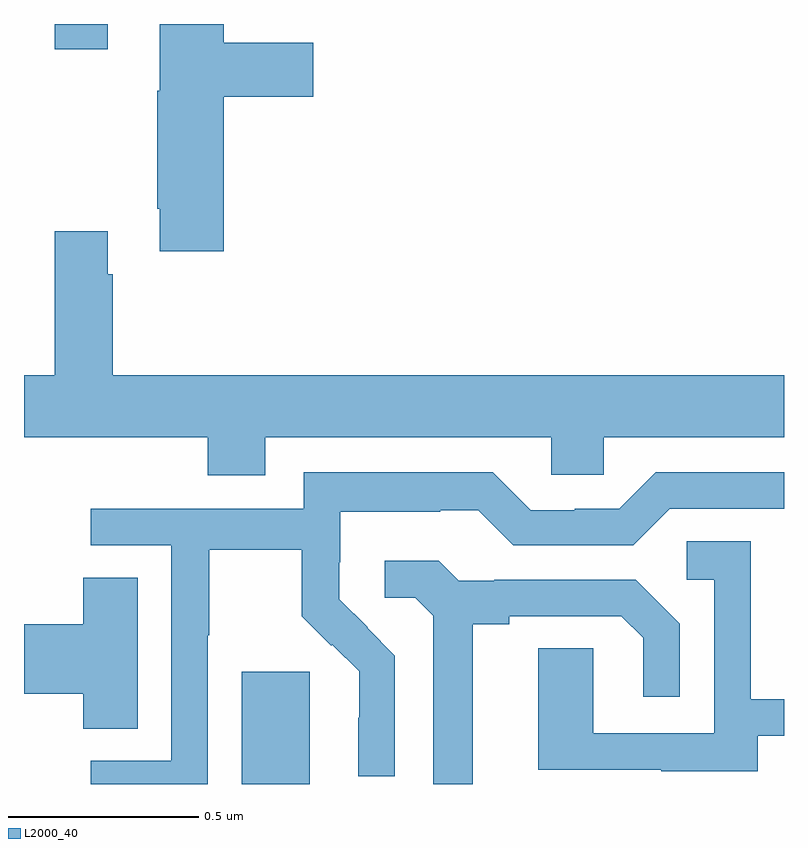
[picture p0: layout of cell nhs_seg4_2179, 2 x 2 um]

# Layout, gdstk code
import gdstk
lib = gdstk.Library(unit=1e-6, precision=1e-09)
def R(c, l, rs):  # rectangles x0, y0, x1, y1
    for r in rs: c.add(gdstk.rectangle(r[:2], r[2:], *l))
def P(c, l, *ps):  # polygons
    for p in ps: c.add(gdstk.Polygon(p, *l))
L2000_40 = (2000, 40)

nhs_seg4_2179 = lib.new_cell('nhs_seg4_2179')
R(nhs_seg4_2179, L2000_40, [(137.573,803.9,137.752,804.195), (137.081,805.833,137.221,805.9)])
P(nhs_seg4_2179, L2000_40, [(137.525,805.709),(137.761,805.709),(137.761,805.851),(137.525,805.851),(137.525,805.9),(137.357,805.9),(137.357,805.725),(137.35,805.725),(137.35,805.414),(137.357,805.414),(137.357,805.302),(137.525,805.302)],
  [(137.635,804.812),(138.387,804.812),(138.387,804.714),(138.525,804.714),(138.525,804.812),(139,804.812),(139,804.976),(137.234,804.976),(137.234,805.241),(137.221,805.241),(137.221,805.354),(137.081,805.354),(137.081,804.976),(137,804.976),(137,804.812),(137.483,804.812),(137.483,804.713),(137.635,804.713)],
  [(137.484,804.292),(137.487,804.292),(137.487,804.516),(137.731,804.516),(137.731,804.341),(137.808,804.264),(137.811,804.267),(137.882,804.197),(137.882,804.074),(137.88,804.074),(137.88,803.92),(137.976,803.92),(137.976,804.238),(137.903,804.311),(137.904,804.312),(137.83,804.386),(137.83,804.483),(137.832,804.483),(137.832,804.617),(138.095,804.617),(138.095,804.621),(138.195,804.621),(138.288,804.528),(138.603,804.528),(138.699,804.624),(139,804.624),(139,804.72),(138.663,804.72),(138.567,804.624),(138.449,804.624),(138.449,804.621),(138.333,804.621),(138.233,804.721),(137.736,804.721),(137.736,804.624),(137.175,804.624),(137.175,804.528),(137.388,804.528),(137.388,803.961),(137.175,803.961),(137.175,803.9),(137.484,803.9)],
  [(138.931,804.027),(139,804.027),(139,804.123),(138.912,804.123),(138.912,804.539),(138.744,804.539),(138.744,804.438),(138.816,804.438),(138.816,804.033),(138.498,804.033),(138.498,804.257),(138.353,804.257),(138.353,803.937),(138.677,803.937),(138.677,803.933),(138.931,803.933)],
  [(138.181,804.32),(138.277,804.32),(138.277,804.342),(138.572,804.342),(138.629,804.285),(138.629,804.129),(138.726,804.129),(138.726,804.322),(138.61,804.438),(138.238,804.438),(138.238,804.435),(138.144,804.435),(138.092,804.487),(137.949,804.487),(137.949,804.39),(138.03,804.39),(138.077,804.343),(138.077,803.9),(138.181,803.9)],
  [(137.299,804.443),(137.156,804.443),(137.156,804.32),(137,804.32),(137,804.137),(137.156,804.137),(137.156,804.046),(137.299,804.046)])

lib.write_gds('nhs_seg4_2179.gds')
